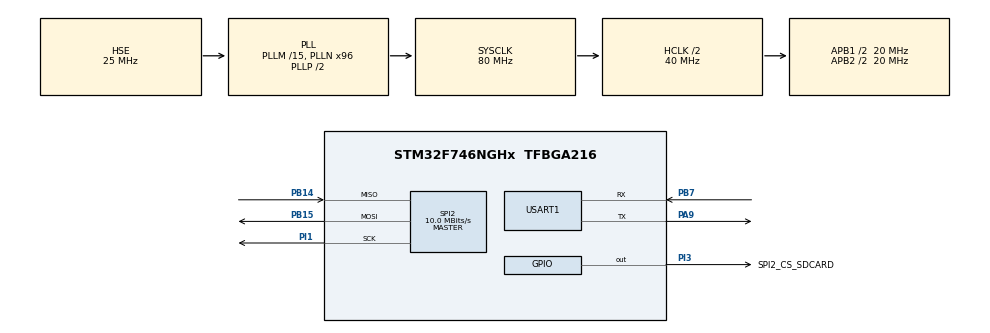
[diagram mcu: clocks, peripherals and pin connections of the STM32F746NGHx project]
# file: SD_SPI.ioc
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CORTEX_M7.ART_ACCELERATOR_ENABLE=0
CORTEX_M7.CPU_DCache=Disabled
CORTEX_M7.CPU_ICache=Disabled
CORTEX_M7.PREFETCH_ENABLE=0
FATFS._MAX_SS=4096
FATFS._USE_LFN=1
Mcu.Family=STM32F7
Mcu.Name=STM32F746NGHx
Mcu.Package=TFBGA216
NVIC.PriorityGroup=NVIC_PRIORITYGROUP_4
PA13.Mode=Serial_Wire
PA13.Signal=SYS_JTMS-SWDIO
PA14.Mode=Serial_Wire
PA14.Signal=SYS_JTCK-SWCLK
PA9.Mode=Asynchronous
PA9.Signal=USART1_TX
PB14.Mode=Full_Duplex_Master
PB14.Signal=SPI2_MISO
PB15.Mode=Full_Duplex_Master
PB15.Signal=SPI2_MOSI
PB7.Mode=Asynchronous
PB7.Signal=USART1_RX
PH0/OSC_IN.Mode=HSE-External-Oscillator
PH0/OSC_IN.Signal=RCC_OSC_IN
PH1/OSC_OUT.Mode=HSE-External-Oscillator
PH1/OSC_OUT.Signal=RCC_OSC_OUT
PI1.Mode=Full_Duplex_Master
PI1.Signal=SPI2_SCK
PI3.GPIO_Label=SPI2_CS_SDCARD
PI3.GPIO_Speed=GPIO_SPEED_FREQ_MEDIUM
PI3.Signal=GPIO_Output
ProjectManager.HeapSize=0x200
ProjectManager.StackSize=0x400
ProjectManager.TargetToolchain=STM32CubeIDE
RCC.AHBCLKDivider=RCC_SYSCLK_DIV2
RCC.AHBFreq_Value=40000000
RCC.APB1CLKDivider=RCC_HCLK_DIV2
RCC.APB1Freq_Value=20000000
RCC.APB1TimFreq_Value=40000000
RCC.APB2CLKDivider=RCC_HCLK_DIV2
RCC.APB2Freq_Value=20000000
RCC.APB2TimFreq_Value=40000000
RCC.CortexFreq_Value=40000000
RCC.HCLKFreq_Value=40000000
RCC.HSE_VALUE=25000000
RCC.HSI_VALUE=16000000
RCC.LSE_VALUE=32768
RCC.PLLI2SN=96
RCC.PLLM=15
RCC.PLLN=96
RCC.PLLSourceVirtual=RCC_PLLSOURCE_HSE
RCC.SYSCLKFreq_VALUE=80000000
RCC.SYSCLKSource=RCC_SYSCLKSOURCE_PLLCLK
RCC.USBFreq_Value=80000000
RCC.VCOOutputFreq_Value=160000000
SPI2.BaudRatePrescaler=SPI_BAUDRATEPRESCALER_2
SPI2.CalculateBaudRate=10.0 MBits/s
SPI2.DataSize=SPI_DATASIZE_8BIT
SPI2.Direction=SPI_DIRECTION_2LINES
SPI2.Mode=SPI_MODE_MASTER
SPI2.VirtualType=VM_MASTER
USART1.VirtualMode-Asynchronous=VM_ASYNC
VP_CRC_VS_CRC.Mode=CRC_Activate
VP_DMA2D_VS_DMA2D.Mode=DMA2D_Activate
VP_FATFS_VS_Generic.Mode=User_defined
board=STM32F746G-DISCO

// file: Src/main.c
/* USER CODE BEGIN Header */
/**
  ******************************************************************************
  * @file           : main.c
  * @brief          : Main program body
  ******************************************************************************
  * @attention
  *
  * Copyright (c) 2023 STMicroelectronics.
  * All rights reserved.
  *
  * This software is licensed under terms that can be found in the LICENSE file
  * in the root directory of this software component.
  * If no LICENSE file comes with this software, it is provided AS-IS.
  *
  ******************************************************************************
  */
/* USER CODE END Header */
#include "main.h"
#include "crc.h"
#include "dma2d.h"
#include "fatfs.h"
#include "spi.h"
#include "usart.h"
#include "gpio.h"

/* USER CODE BEGIN Includes */
#include <stdio.h>
#include "sdcard.h"
/* USER CODE END Includes */

void SystemClock_Config(void);

/* USER CODE BEGIN 0 */
int _write(int file, char *ptr, int len) // for the "printf()" function
{
  HAL_UART_Transmit(&huart1, (uint8_t *)ptr, (uint16_t)len, HAL_MAX_DELAY);
  return len;
}

static FRESULT ReadLongFile(void)
{
  uint32_t bytesRead;
  uint32_t i1;
  uint32_t f_size = f_size(&USERFile);
  printf("file size: %lu\r\n", f_size);
//  uint32_t ind = 0;
//  do
//  {
//    uint8_t sect[512];
//    if (f_size < sizeof(sect))
//    {
//      i1 = f_size;
//    }
//    else
//    {
//      i1 = sizeof(sect);
//    }
//    f_size -= i1;
//    f_lseek(&USERFile, ind);
//    f_read(&USERFile, sect, i1, (UINT *)&bytesRead);
//    for (uint32_t i = 0; i < bytesRead; i++)
//    {
//      putchar(*(sect + i));
//    }
//    ind += i1;
//  } while (f_size > 0);

  uint8_t buf[2048];
  f_read(&USERFile, buf, f_size, (UINT *)&bytesRead);
  for (uint32_t i = 0; i < bytesRead; i++)
  {
    putchar(*(buf + i));
  }

  printf("\r\n");
  return FR_OK;
}

static void Test1_WriteBlock(void)
{
  uint8_t buffer[1024] = "22255678911 know what are you looking for and that's why probably you are here. So I am not going to waste your time with the facts that what is an SD card? How does it work and all these... In this tutorial we will interface a SD card with stm32 micro controller using SPI mode.I am using STM32F103C8 controller and SD card size is 1 GB.Also we will do some basic file handling operations such as creating a file, writing, reading, deleting etc. Some advanced operations, i.e.directory related operations, wil\r\n55555678911 know what are you looking for and that's why probably you are here. So I am not going to waste your time with the facts that what is an SD card? How does it work and all these... In this tutorial we will interface a SD card with stm32 micro controller using SPI mode.I am using STM32F103C8 controller and SD card size is 1 GB.Also we will do some basic file handling operations such as creating a file, writing, reading, deleting etc. Some advanced operations, i.e.directory related operations, wil\r\n"; //Буфер данных для записи/чтения
  DRESULT res2 = SDCARD_Write(USERFatFS.drv, (uint8_t*)buffer, 0x0400, 2);
  printf("Write_res=%u\r\n", res2);
  printf("Write block...%s\r\n", (res2 == RES_OK) ? "OK" : "ERROR");
}

static void Test2_ReadBlock(void)
{
  uint8_t buffer[1024];
  for (uint32_t i = 0; i < sizeof(buffer); i++)
  {
    buffer[i] = '\0';
  }
  DRESULT res2 = SDCARD_Read(USERFatFS.drv, buffer, 0x0400, 2);
  printf("Read_res=%u\r\n", res2);
  if (res2 == RES_OK)
  {
    for (uint32_t i = 0; i < sizeof(buffer); i++)
    {
      putchar(*(buffer + i));
    }
    printf("Read block...OK\r\n");
  }
  else
  {
    printf("Read block...ERROR\r\n");
  }
}

static void Test3_WriteFile(void)
{
  if (f_mount(&USERFatFS, (TCHAR const*)USERPath, 0) != FR_OK)
  {
    Error_Handler();
  }
  else
  {
    if (f_open(&USERFile, "STM32_Write2.txt", FA_CREATE_ALWAYS | FA_WRITE) != FR_OK)
    {
      Error_Handler();
    }
    else
    {
      const uint8_t wtext[] = "22255678911 know what are you looking for and that's why probably you are here. So I am not going to waste your time with the facts that what is an SD card? How does it work and all these... In this tutorial we will interface a SD card with stm32 micro controller using SPI mode.I am using STM32F103C8 controller and SD card size is 1 GB.Also we will do some basic file handling operations such as creating a file, writing, reading, deleting etc. Some advanced operations, i.e.directory related operations, wil\r\n55555678911 know what are you looking for and that's why probably you are here. So I am not going to waste your time with the facts that what is an SD card? How does it work and all these... In this tutorial we will interface a SD card with stm32 micro controller using SPI mode.I am using STM32F103C8 controller and SD card size is 1 GB.Also we will do some basic file handling operations such as creating a file, writing, reading, deleting etc. Some advanced operations, i.e.directory related operations, wil\r\n";
      //const uint8_t wtext[] = "Hello from STM32!!!\r\n";
      uint32_t bytesWritten;
      FRESULT res = f_write(&USERFile, wtext, sizeof(wtext), (void*)&bytesWritten);
      if ((bytesWritten == 0) || (res != FR_OK))
      {
        Error_Handler();
      }
      f_close(&USERFile);
    }
  }
}

static void Test4_ReadFile(void)
{
  if (f_mount(&USERFatFS, (TCHAR const*)USERPath, 0) != FR_OK)
  {
    Error_Handler();
  }
  else
  {
    if (f_open(&USERFile, "STM32.TXT", FA_READ) != FR_OK)
    {
      Error_Handler();
    }
    else
    {
      ReadLongFile();
      f_close(&USERFile);
    }
  }
}

static void Test5_ReadDirectory(void)
{
  FATFS *fs;
  DIR dir;
  DWORD fre_clust;
  DWORD fre_sect;
  DWORD tot_sect;

  if (f_mount(&USERFatFS, (TCHAR const*)USERPath, 1) != FR_OK)
  {
    Error_Handler();
  }
  else
  {
    FILINFO fileInfo;
    FRESULT result = f_opendir(&dir, "/");
    if (result == FR_OK)
    {
      while (1)
      {
        result = f_readdir(&dir, &fileInfo);
        if (result == FR_OK && fileInfo.fname[0])
        {
          printf("%s", fileInfo.fname);
          if (fileInfo.fattrib & AM_DIR)
          {
            printf(" [DIR]");
          }
          if (fileInfo.fattrib & AM_HID)
          {
            printf(" [HID]");
          }
        }
        else
        {
          break;
        }
        printf("\r\n");
      }

      f_getfree("/", &fre_clust, &fs);
      printf("fre_clust: %lu\r\n", fre_clust);
      printf("n_fatent: %lu\r\n", fs->n_fatent);
      printf("fs_csize: %d\r\n", fs->csize);

      tot_sect = (fs->n_fatent - 2) * fs->csize;
      printf("tot_sect: %lu\r\n", tot_sect);

      fre_sect = fre_clust * fs->csize;
      printf("fre_sect: %lu\r\n", fre_sect);
      printf("%lu KB total drive space.\r\n%lu KB available.\r\n", tot_sect / 2, fre_sect / 2);

      f_closedir(&dir);
    }
  }

  if (f_mount(NULL, USERPath, 0) == FR_OK)
  {
    FATFS_UnLinkDriver(USERPath);
  }
}

void Test6_FatFs(void)
{
  FRESULT res; /* FatFs function common result code */
  uint32_t byteswritten, bytesread; /* File write/read counts */
  uint8_t wtext[] = "This is STM32 working with FatFs"; /* File write buffer */
  uint8_t rtext[100]; /* File read buffer */
  uint8_t workBuffer[_MAX_SS];

  /* Configure LED1  */
//  HAL_GPIO_WritePin(LED2_GPIO_Port, LED2_Pin, GPIO_PIN_RESET);

  /*##-1- Link the micro SD disk I/O driver ##################################*/
  if (retUSER == 0)
  {
    /*##-2- Register the file system object to the FatFs module ##############*/
    res = f_mount(&USERFatFS, (TCHAR const*)USERPath, 1);
    if (res != FR_OK)
    {
      /* FatFs Initialization Error */
      Error_Handler();
    }
    else
    {
      /*##-3- Create a FAT file system (format) on the logical drive #########*/
      /* WARNING: Formatting the uSD card will delete all content on the device */
      res = f_mkfs((TCHAR const*)USERPath, FM_ANY, 0, workBuffer, sizeof(workBuffer));
      if (res != FR_OK)
      {
        /* FatFs Format Error */
        Error_Handler();
      }
      else
      {
        /*##-4- Create and Open a new text file object with write access #####*/
        res = f_open(&USERFile, "STM32.TXT", FA_CREATE_ALWAYS | FA_WRITE);
        if (res != FR_OK)
        {
          /* 'STM32.TXT' file Open for write Error */
          Error_Handler();
        }
        else
        {
          /*##-5- Write data to the text file ################################*/
          res = f_write(&USERFile, wtext, sizeof(wtext), (void *)&byteswritten);

          if ((byteswritten == 0) || (res != FR_OK))
          {
            /* 'STM32.TXT' file Write or EOF Error */
            Error_Handler();
          }
          else
          {
            /*##-6- Close the open text file #################################*/
            res = f_close(&USERFile);
            if (res != FR_OK)
            {
              Error_Handler();
            }

            /*##-7- Open the text file object with read access ###############*/
            res = f_open(&USERFile, "STM32.TXT", FA_READ);
            if (res != FR_OK)
            {
              /* 'STM32.TXT' file Open for read Error */
              Error_Handler();
            }
            else
            {
              /*##-8- Read data from the text file ###########################*/
              res = f_read(&USERFile, rtext, sizeof(rtext), (UINT*)&bytesread);

              if ((bytesread == 0) || (res != FR_OK))
              {
                /* 'STM32.TXT' file Read or EOF Error */
                Error_Handler();
              }
              else
              {
                /*##-9- Close the open text file #############################*/
                res = f_close(&USERFile);
                if (res != FR_OK)
                {
                  Error_Handler();
                }

                /*##-10- Compare read data with the expected data ############*/
                if ((bytesread != byteswritten))
                {
                  /* Read data is different from the expected data */
                  Error_Handler();
                }
                else
                {
                  /* Success of the demo: no error occurrence */
                  //HAL_GPIO_WritePin(LED2_GPIO_Port, LED2_Pin, GPIO_PIN_SET);
                }
              }
            }
          }
        }
      }
    }
  }

  /*##-11- Unlink the micro SD disk I/O driver ###############################*/
  FATFS_UnLinkDriver(USERPath);
}
/* USER CODE END 0 */

int main(void)
{

  /* MCU Configuration--------------------------------------------------------*/

  /* Reset of all peripherals, Initializes the Flash interface and the Systick. */
  HAL_Init();

  /* Configure the system clock */
  SystemClock_Config();

  /* Initialize all configured peripherals */
  MX_GPIO_Init();
  MX_DMA2D_Init();
  MX_CRC_Init();
  MX_USART1_UART_Init();
  MX_SPI2_Init();
  MX_FATFS_Init();
  /* USER CODE BEGIN 2 */
//  Test1_WriteBlock();
//  Test2_ReadBlock();
//  Test3_WriteFile();
//  Test4_ReadFile();
//  Test5_ReadDirectory();
  Test6_FatFs();
  /* USER CODE END 2 */

  /* Infinite loop */
  while (1)
  {

  }
}

void SystemClock_Config(void)
{
  RCC_OscInitTypeDef RCC_OscInitStruct = {0};
  RCC_ClkInitTypeDef RCC_ClkInitStruct = {0};

  /** Configure the main internal regulator output voltage
  */
  __HAL_RCC_PWR_CLK_ENABLE();
  __HAL_PWR_VOLTAGESCALING_CONFIG(PWR_REGULATOR_VOLTAGE_SCALE3);

  /** Initializes the RCC Oscillators according to the specified parameters
  * in the RCC_OscInitTypeDef structure.
  */
  RCC_OscInitStruct.OscillatorType = RCC_OSCILLATORTYPE_HSE;
  RCC_OscInitStruct.HSEState = RCC_HSE_ON;
  RCC_OscInitStruct.PLL.PLLState = RCC_PLL_ON;
  RCC_OscInitStruct.PLL.PLLSource = RCC_PLLSOURCE_HSE;
  RCC_OscInitStruct.PLL.PLLM = 15;
  RCC_OscInitStruct.PLL.PLLN = 96;
  RCC_OscInitStruct.PLL.PLLP = RCC_PLLP_DIV2;
  RCC_OscInitStruct.PLL.PLLQ = 2;
  if (HAL_RCC_OscConfig(&RCC_OscInitStruct) != HAL_OK)
  {
    Error_Handler();
  }

  /** Initializes the CPU, AHB and APB buses clocks
  */
  RCC_ClkInitStruct.ClockType = RCC_CLOCKTYPE_HCLK|RCC_CLOCKTYPE_SYSCLK
                              |RCC_CLOCKTYPE_PCLK1|RCC_CLOCKTYPE_PCLK2;
  RCC_ClkInitStruct.SYSCLKSource = RCC_SYSCLKSOURCE_PLLCLK;
  RCC_ClkInitStruct.AHBCLKDivider = RCC_SYSCLK_DIV2;
  RCC_ClkInitStruct.APB1CLKDivider = RCC_HCLK_DIV2;
  RCC_ClkInitStruct.APB2CLKDivider = RCC_HCLK_DIV2;

  if (HAL_RCC_ClockConfig(&RCC_ClkInitStruct, FLASH_LATENCY_1) != HAL_OK)
  {
    Error_Handler();
  }
}

void Error_Handler(void)
{
  __disable_irq();
  while (1)
  {
  }
}
